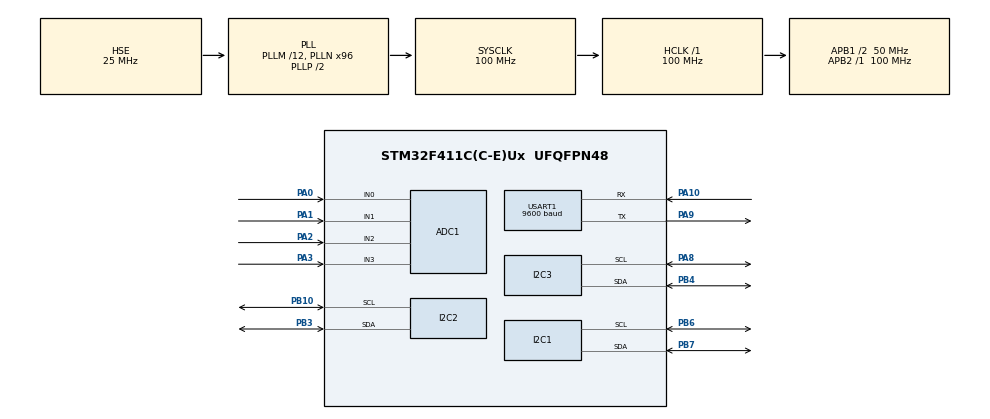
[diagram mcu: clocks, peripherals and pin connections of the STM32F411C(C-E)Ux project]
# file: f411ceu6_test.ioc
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ADC1.Channel-4\#ChannelRegularConversion=ADC_CHANNEL_0
ADC1.Channel-5\#ChannelRegularConversion=ADC_CHANNEL_1
ADC1.Channel-6\#ChannelRegularConversion=ADC_CHANNEL_2
ADC1.Channel-7\#ChannelRegularConversion=ADC_CHANNEL_3
ADC1.ContinuousConvMode=ENABLE
ADC1.DMAContinuousRequests=ENABLE
ADC1.NbrOfConversion=4
ADC1.NbrOfConversionFlag=1
ADC1.Rank-4\#ChannelRegularConversion=1
ADC1.Rank-5\#ChannelRegularConversion=2
ADC1.Rank-6\#ChannelRegularConversion=3
ADC1.Rank-7\#ChannelRegularConversion=4
ADC1.SamplingTime-4\#ChannelRegularConversion=ADC_SAMPLETIME_3CYCLES
ADC1.SamplingTime-5\#ChannelRegularConversion=ADC_SAMPLETIME_3CYCLES
ADC1.SamplingTime-6\#ChannelRegularConversion=ADC_SAMPLETIME_3CYCLES
ADC1.SamplingTime-7\#ChannelRegularConversion=ADC_SAMPLETIME_3CYCLES
ADC1.ScanConvMode=ENABLE
ADC1.master=1
Dma.ADC1.0.Direction=DMA_PERIPH_TO_MEMORY
Dma.ADC1.0.FIFOMode=DMA_FIFOMODE_DISABLE
Dma.ADC1.0.Instance=DMA2_Stream0
Dma.ADC1.0.MemDataAlignment=DMA_MDATAALIGN_WORD
Dma.ADC1.0.MemInc=DMA_MINC_ENABLE
Dma.ADC1.0.Mode=DMA_CIRCULAR
Dma.ADC1.0.PeriphDataAlignment=DMA_PDATAALIGN_WORD
Dma.ADC1.0.PeriphInc=DMA_PINC_DISABLE
Dma.ADC1.0.Priority=DMA_PRIORITY_MEDIUM
Dma.Request0=ADC1
Mcu.Family=STM32F4
Mcu.Name=STM32F411C(C-E)Ux
Mcu.Package=UFQFPN48
NVIC.DMA2_Stream0_IRQn=true\:0\:0\:false\:false\:true\:false\:true\:true
NVIC.PriorityGroup=NVIC_PRIORITYGROUP_4
PA0-WKUP.Signal=ADCx_IN0
PA1.Signal=ADCx_IN1
PA10.Mode=Asynchronous
PA10.Signal=USART1_RX
PA13.Mode=Serial_Wire
PA13.Signal=SYS_JTMS-SWDIO
PA14.Mode=Serial_Wire
PA14.Signal=SYS_JTCK-SWCLK
PA2.Signal=ADCx_IN2
PA3.Signal=ADCx_IN3
PA8.Mode=I2C
PA8.Signal=I2C3_SCL
PA9.Mode=Asynchronous
PA9.Signal=USART1_TX
PB10.Mode=I2C
PB10.Signal=I2C2_SCL
PB3.Mode=I2C
PB3.Signal=I2C2_SDA
PB4.Mode=I2C
PB4.Signal=I2C3_SDA
PB6.Mode=I2C
PB6.Signal=I2C1_SCL
PB7.Mode=I2C
PB7.Signal=I2C1_SDA
PH0\ -\ OSC_IN.Mode=HSE-External-Oscillator
PH0\ -\ OSC_IN.Signal=RCC_OSC_IN
PH1\ -\ OSC_OUT.Mode=HSE-External-Oscillator
PH1\ -\ OSC_OUT.Signal=RCC_OSC_OUT
ProjectManager.HeapSize=0x200
ProjectManager.StackSize=0x400
ProjectManager.TargetToolchain=STM32CubeIDE
RCC.48MHZClocksFreq_Value=66666666.666666664
RCC.AHBFreq_Value=100000000
RCC.APB1CLKDivider=RCC_HCLK_DIV2
RCC.APB1Freq_Value=50000000
RCC.APB1TimFreq_Value=100000000
RCC.APB2Freq_Value=100000000
RCC.APB2TimFreq_Value=100000000
RCC.CortexFreq_Value=100000000
RCC.HCLKFreq_Value=100000000
RCC.HSE_VALUE=25000000
RCC.HSI_VALUE=16000000
RCC.LSE_VALUE=32768
RCC.PLLM=12
RCC.PLLN=96
RCC.PLLQ=3
RCC.PLLSourceVirtual=RCC_PLLSOURCE_HSE
RCC.SYSCLKFreq_VALUE=100000000
RCC.SYSCLKSource=RCC_SYSCLKSOURCE_PLLCLK
RCC.VCOOutputFreq_Value=200000000
SH.ADCx_IN0.0=ADC1_IN0,IN0
SH.ADCx_IN1.0=ADC1_IN1,IN1
SH.ADCx_IN2.0=ADC1_IN2,IN2
SH.ADCx_IN3.0=ADC1_IN3,IN3
USART1.BaudRate=9600
USART1.VirtualMode=VM_ASYNC
board=custom

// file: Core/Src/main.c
/* USER CODE BEGIN Header */
/**
 ******************************************************************************
 * @file           : main.c
 * @brief          : Main program body
 ******************************************************************************
 * @attention
 *
 * Copyright (c) 2023 STMicroelectronics.
 * All rights reserved.
 *
 * This software is licensed under terms that can be found in the LICENSE file
 * in the root directory of this software component.
 * If no LICENSE file comes with this software, it is provided AS-IS.
 *
 ******************************************************************************
 */
/* USER CODE END Header */
#include "main.h"

/* USER CODE BEGIN PD */
#define AS5600_ADDRESS 0x36
#define AS5600_RAW_ADD_1 0x0D	// bit 7:0
#define AS5600_RAW_ADD_2 0x0C	// bit 11:8
#define AS5600_ANG_ADD 0x0F
/* USER CODE END PD */

ADC_HandleTypeDef hadc1;
DMA_HandleTypeDef hdma_adc1;

I2C_HandleTypeDef hi2c1;
I2C_HandleTypeDef hi2c2;
I2C_HandleTypeDef hi2c3;

UART_HandleTypeDef huart1;

/* USER CODE BEGIN PV */
int raw_adc;
uint32_t dma_value[4];

double as5600_angle_[3];

union angle_ {
	double link_[3];
	uint8_t unionSize[24];
} angle;

/* USER CODE END PV */

void SystemClock_Config(void);
static void MX_GPIO_Init(void);
static void MX_DMA_Init(void);
static void MX_I2C1_Init(void);
static void MX_I2C2_Init(void);
static void MX_I2C3_Init(void);
static void MX_ADC1_Init(void);
static void MX_USART1_UART_Init(void);
/* USER CODE BEGIN PFP */
void as5600_read_angle(void);
/* USER CODE END PFP */

int main(void)
{

  /* MCU Configuration--------------------------------------------------------*/

  /* Reset of all peripherals, Initializes the Flash interface and the Systick. */
  HAL_Init();

  /* Configure the system clock */
  SystemClock_Config();

  /* Initialize all configured peripherals */
  MX_GPIO_Init();
  MX_DMA_Init();
  MX_I2C1_Init();
  MX_I2C2_Init();
  MX_I2C3_Init();
  MX_ADC1_Init();
  MX_USART1_UART_Init();
  /* USER CODE BEGIN 2 */
//  HAL_ADC_Start_DMA(&hadc1, dma_value, 4);
  /* USER CODE END 2 */

  /* Infinite loop */
	while (1)
	{

    /* USER CODE BEGIN 3 */
		as5600_read_angle();

		angle.link_[0] = as5600_angle_[0];
		angle.link_[1] = as5600_angle_[1];
		angle.link_[2] = 180.0 + (as5600_angle_[2] - as5600_angle_[1]);

		HAL_UART_Transmit(&huart1, (uint8_t*)&angle.unionSize, sizeof(angle.unionSize), HAL_MAX_DELAY);

//		HAL_ADC_Start(&hadc1);
//		HAL_ADC_PollForConversion(&hadc1, HAL_MAX_DELAY);
//		raw_adc = HAL_ADC_GetValue(&hadc1);

		HAL_Delay(50);
	}
  /* USER CODE END 3 */
}

void SystemClock_Config(void)
{
  RCC_OscInitTypeDef RCC_OscInitStruct = {0};
  RCC_ClkInitTypeDef RCC_ClkInitStruct = {0};

  /** Configure the main internal regulator output voltage
  */
  __HAL_RCC_PWR_CLK_ENABLE();
  __HAL_PWR_VOLTAGESCALING_CONFIG(PWR_REGULATOR_VOLTAGE_SCALE1);

  /** Initializes the RCC Oscillators according to the specified parameters
  * in the RCC_OscInitTypeDef structure.
  */
  RCC_OscInitStruct.OscillatorType = RCC_OSCILLATORTYPE_HSE;
  RCC_OscInitStruct.HSEState = RCC_HSE_ON;
  RCC_OscInitStruct.PLL.PLLState = RCC_PLL_ON;
  RCC_OscInitStruct.PLL.PLLSource = RCC_PLLSOURCE_HSE;
  RCC_OscInitStruct.PLL.PLLM = 12;
  RCC_OscInitStruct.PLL.PLLN = 96;
  RCC_OscInitStruct.PLL.PLLP = RCC_PLLP_DIV2;
  RCC_OscInitStruct.PLL.PLLQ = 3;
  if (HAL_RCC_OscConfig(&RCC_OscInitStruct) != HAL_OK)
  {
    Error_Handler();
  }

  /** Initializes the CPU, AHB and APB buses clocks
  */
  RCC_ClkInitStruct.ClockType = RCC_CLOCKTYPE_HCLK|RCC_CLOCKTYPE_SYSCLK
                              |RCC_CLOCKTYPE_PCLK1|RCC_CLOCKTYPE_PCLK2;
  RCC_ClkInitStruct.SYSCLKSource = RCC_SYSCLKSOURCE_PLLCLK;
  RCC_ClkInitStruct.AHBCLKDivider = RCC_SYSCLK_DIV1;
  RCC_ClkInitStruct.APB1CLKDivider = RCC_HCLK_DIV2;
  RCC_ClkInitStruct.APB2CLKDivider = RCC_HCLK_DIV1;

  if (HAL_RCC_ClockConfig(&RCC_ClkInitStruct, FLASH_LATENCY_3) != HAL_OK)
  {
    Error_Handler();
  }
}

static void MX_ADC1_Init(void)
{

  ADC_ChannelConfTypeDef sConfig = {0};

  /** Configure the global features of the ADC (Clock, Resolution, Data Alignment and number of conversion)
  */
  hadc1.Instance = ADC1;
  hadc1.Init.ClockPrescaler = ADC_CLOCK_SYNC_PCLK_DIV4;
  hadc1.Init.Resolution = ADC_RESOLUTION_12B;
  hadc1.Init.ScanConvMode = ENABLE;
  hadc1.Init.ContinuousConvMode = ENABLE;
  hadc1.Init.DiscontinuousConvMode = DISABLE;
  hadc1.Init.ExternalTrigConvEdge = ADC_EXTERNALTRIGCONVEDGE_NONE;
  hadc1.Init.ExternalTrigConv = ADC_SOFTWARE_START;
  hadc1.Init.DataAlign = ADC_DATAALIGN_RIGHT;
  hadc1.Init.NbrOfConversion = 4;
  hadc1.Init.DMAContinuousRequests = ENABLE;
  hadc1.Init.EOCSelection = ADC_EOC_SINGLE_CONV;
  if (HAL_ADC_Init(&hadc1) != HAL_OK)
  {
    Error_Handler();
  }

  /** Configure for the selected ADC regular channel its corresponding rank in the sequencer and its sample time.
  */
  sConfig.Channel = ADC_CHANNEL_0;
  sConfig.Rank = 1;
  sConfig.SamplingTime = ADC_SAMPLETIME_3CYCLES;
  if (HAL_ADC_ConfigChannel(&hadc1, &sConfig) != HAL_OK)
  {
    Error_Handler();
  }

  /** Configure for the selected ADC regular channel its corresponding rank in the sequencer and its sample time.
  */
  sConfig.Channel = ADC_CHANNEL_1;
  sConfig.Rank = 2;
  if (HAL_ADC_ConfigChannel(&hadc1, &sConfig) != HAL_OK)
  {
    Error_Handler();
  }

  /** Configure for the selected ADC regular channel its corresponding rank in the sequencer and its sample time.
  */
  sConfig.Channel = ADC_CHANNEL_2;
  sConfig.Rank = 3;
  if (HAL_ADC_ConfigChannel(&hadc1, &sConfig) != HAL_OK)
  {
    Error_Handler();
  }

  /** Configure for the selected ADC regular channel its corresponding rank in the sequencer and its sample time.
  */
  sConfig.Channel = ADC_CHANNEL_3;
  sConfig.Rank = 4;
  if (HAL_ADC_ConfigChannel(&hadc1, &sConfig) != HAL_OK)
  {
    Error_Handler();
  }

}

static void MX_I2C1_Init(void)
{

  hi2c1.Instance = I2C1;
  hi2c1.Init.ClockSpeed = 100000;
  hi2c1.Init.DutyCycle = I2C_DUTYCYCLE_2;
  hi2c1.Init.OwnAddress1 = 0;
  hi2c1.Init.AddressingMode = I2C_ADDRESSINGMODE_7BIT;
  hi2c1.Init.DualAddressMode = I2C_DUALADDRESS_DISABLE;
  hi2c1.Init.OwnAddress2 = 0;
  hi2c1.Init.GeneralCallMode = I2C_GENERALCALL_DISABLE;
  hi2c1.Init.NoStretchMode = I2C_NOSTRETCH_DISABLE;
  if (HAL_I2C_Init(&hi2c1) != HAL_OK)
  {
    Error_Handler();
  }

}

static void MX_I2C2_Init(void)
{

  hi2c2.Instance = I2C2;
  hi2c2.Init.ClockSpeed = 100000;
  hi2c2.Init.DutyCycle = I2C_DUTYCYCLE_2;
  hi2c2.Init.OwnAddress1 = 0;
  hi2c2.Init.AddressingMode = I2C_ADDRESSINGMODE_7BIT;
  hi2c2.Init.DualAddressMode = I2C_DUALADDRESS_DISABLE;
  hi2c2.Init.OwnAddress2 = 0;
  hi2c2.Init.GeneralCallMode = I2C_GENERALCALL_DISABLE;
  hi2c2.Init.NoStretchMode = I2C_NOSTRETCH_DISABLE;
  if (HAL_I2C_Init(&hi2c2) != HAL_OK)
  {
    Error_Handler();
  }

}

static void MX_I2C3_Init(void)
{

  hi2c3.Instance = I2C3;
  hi2c3.Init.ClockSpeed = 100000;
  hi2c3.Init.DutyCycle = I2C_DUTYCYCLE_2;
  hi2c3.Init.OwnAddress1 = 0;
  hi2c3.Init.AddressingMode = I2C_ADDRESSINGMODE_7BIT;
  hi2c3.Init.DualAddressMode = I2C_DUALADDRESS_DISABLE;
  hi2c3.Init.OwnAddress2 = 0;
  hi2c3.Init.GeneralCallMode = I2C_GENERALCALL_DISABLE;
  hi2c3.Init.NoStretchMode = I2C_NOSTRETCH_DISABLE;
  if (HAL_I2C_Init(&hi2c3) != HAL_OK)
  {
    Error_Handler();
  }

}

static void MX_USART1_UART_Init(void)
{

  huart1.Instance = USART1;
  huart1.Init.BaudRate = 9600;
  huart1.Init.WordLength = UART_WORDLENGTH_8B;
  huart1.Init.StopBits = UART_STOPBITS_1;
  huart1.Init.Parity = UART_PARITY_NONE;
  huart1.Init.Mode = UART_MODE_TX_RX;
  huart1.Init.HwFlowCtl = UART_HWCONTROL_NONE;
  huart1.Init.OverSampling = UART_OVERSAMPLING_16;
  if (HAL_UART_Init(&huart1) != HAL_OK)
  {
    Error_Handler();
  }

}

static void MX_DMA_Init(void)
{

  /* DMA controller clock enable */
  __HAL_RCC_DMA2_CLK_ENABLE();

  /* DMA interrupt init */
  /* DMA2_Stream0_IRQn interrupt configuration */
  HAL_NVIC_SetPriority(DMA2_Stream0_IRQn, 0, 0);
  HAL_NVIC_EnableIRQ(DMA2_Stream0_IRQn);

}

static void MX_GPIO_Init(void)
{

  /* GPIO Ports Clock Enable */
  __HAL_RCC_GPIOH_CLK_ENABLE();
  __HAL_RCC_GPIOA_CLK_ENABLE();
  __HAL_RCC_GPIOB_CLK_ENABLE();

}

/* USER CODE BEGIN 4 */
void as5600_read_angle(void) {
	uint8_t buff_[3][2];
	uint16_t raw_angle_[3];

	HAL_I2C_Mem_Read(&hi2c1, AS5600_ADDRESS<<1, AS5600_RAW_ADD_1, 1, &buff_[0][0], 1, HAL_MAX_DELAY);
	HAL_I2C_Mem_Read(&hi2c1, AS5600_ADDRESS<<1, AS5600_RAW_ADD_2, 1, &buff_[0][1], 1, HAL_MAX_DELAY);

	HAL_I2C_Mem_Read(&hi2c2, AS5600_ADDRESS<<1, AS5600_RAW_ADD_1, 1, &buff_[1][0], 1, HAL_MAX_DELAY);
	HAL_I2C_Mem_Read(&hi2c2, AS5600_ADDRESS<<1, AS5600_RAW_ADD_2, 1, &buff_[1][1], 1, HAL_MAX_DELAY);

	HAL_I2C_Mem_Read(&hi2c3, AS5600_ADDRESS<<1, AS5600_RAW_ADD_1, 1, &buff_[2][0], 1, HAL_MAX_DELAY);
	HAL_I2C_Mem_Read(&hi2c3, AS5600_ADDRESS<<1, AS5600_RAW_ADD_2, 1, &buff_[2][1], 1, HAL_MAX_DELAY);

	raw_angle_[0] = buff_[0][1] << 8 | buff_[0][0];
	raw_angle_[1] = buff_[1][1] << 8 | buff_[1][0];
	raw_angle_[2] = buff_[2][1] << 8 | buff_[2][0];

	/*
	 * Resolution: 360/4096 = 0.087890625
	 * angle_0 offset: 0.0
	 * angle_1 offset: -68.0
	 * angle_2 offset: 70.0
	 * */
	as5600_angle_[0] = 0.087890625 * raw_angle_[0] + 0.0;
	as5600_angle_[1] = 0.087890625 * raw_angle_[1] + (-68.0);
	as5600_angle_[2] = 0.087890625 * raw_angle_[2] + 70.0;
}
/* USER CODE END 4 */

void Error_Handler(void)
{
	__disable_irq();
	while (1)
	{
	}
}
